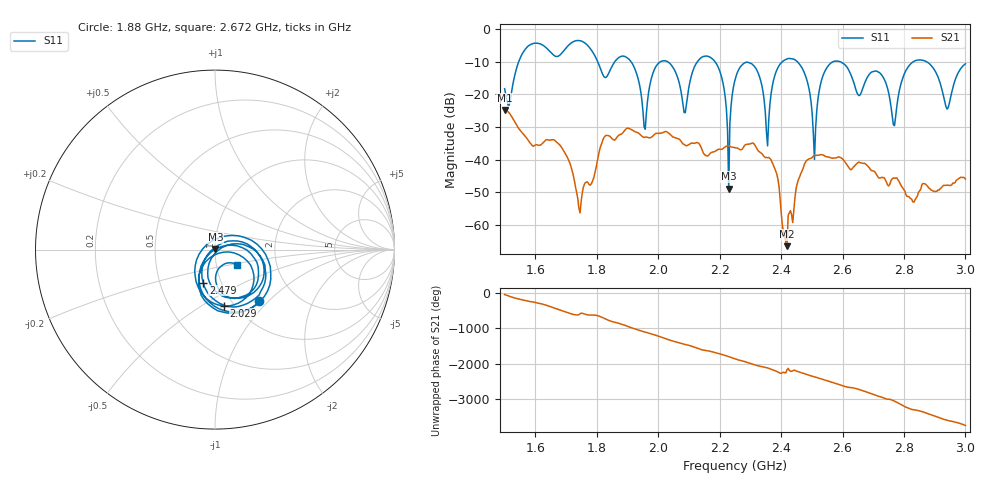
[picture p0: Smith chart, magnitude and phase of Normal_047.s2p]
# HZ S RI R 50
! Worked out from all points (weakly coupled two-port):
!   404 points, 1.5 GHz to 3 GHz, reference 50 ohm
!   highest |S21| = -24.78 dB at 1.5 GHz (marker M1); lowest = -66.4 dB at 2.419 GHz (marker M2)
!   lowest |S11| = -48.8 dB at 2.23 GHz (marker M3), VSWR 1.01, Z = 50.3 + j0.246 ohm
!   |S11| at or under -10 dB: 2.184 GHz to 2.405 GHz (220.2 MHz wide, 9.6 % of centre); 2.591 GHz to 2.832 GHz (241 MHz wide, 8.89 % of centre); 2.873 GHz to end of sweep (the widest 3 of 8)
!   S12 and S22 are empty: the file has one direction only
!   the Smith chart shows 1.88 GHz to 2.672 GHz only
!   S11 on the Smith chart (normalised r, x): 1.88 GHz: 1.32, -0.89; 2.029 GHz: 0.90, -0.63; 2.479 GHz: 0.82, -0.31; 2.672 GHz: 1.26, -0.22
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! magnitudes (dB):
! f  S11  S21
! 1.5 GHz  -18.3  -24.8
! 1.582 GHz  -4.9  -34.7
! 1.753 GHz  -3.9  -49.9
! 1.88 GHz  -8.4  -32.2
! 1.958 GHz  -30.7  -33.1
! 2.002 GHz  -10.4  -31.9
! 2.029 GHz  -9.9  -31.5
! 2.084 GHz  -25.6  -35.3
! 2.181 GHz  -9.6  -37.6
! 2.23 GHz  -48.8  -35.7
! 2.252 GHz  -15.0  -36.4
! 2.315 GHz  -11.7  -35.6
! 2.356 GHz  -35.8  -39.4
! 2.419 GHz  -9.2  -66.4
! 2.479 GHz  -14.2  -40.8
! 2.501 GHz  -25.9  -39.3
! 2.565 GHz  -10.3  -39.5
! 2.672 GHz  -16.5  -41.1
! 2.751 GHz  -19.7  -48.0
! 2.859 GHz  -9.6  -47.6
! 2.94 GHz  -24.5  -47.8
! 3 GHz  -10.7  -45.9
